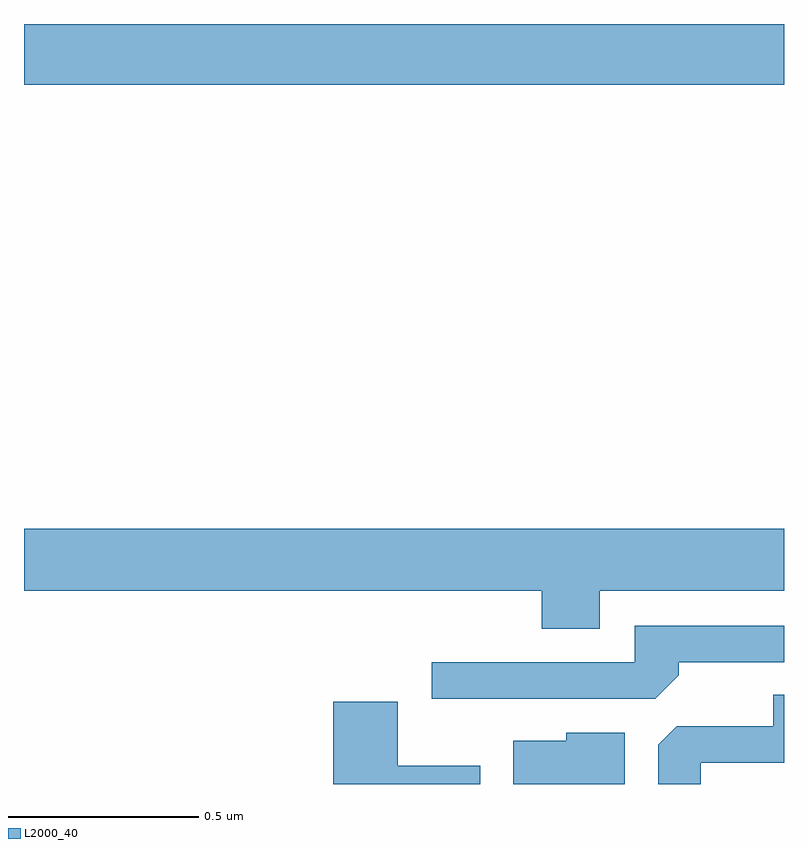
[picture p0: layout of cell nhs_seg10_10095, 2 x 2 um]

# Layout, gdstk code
import gdstk
lib = gdstk.Library(unit=1e-6, precision=1e-09)
def R(c, l, rs):  # rectangles x0, y0, x1, y1
    for r in rs: c.add(gdstk.rectangle(r[:2], r[2:], *l))
def P(c, l, *ps):  # polygons
    for p in ps: c.add(gdstk.Polygon(p, *l))
L2000_40 = (2000, 40)

nhs_seg10_10095 = lib.new_cell('nhs_seg10_10095')
R(nhs_seg10_10095, L2000_40, [(238,1276.34,240,1276.5)])
P(nhs_seg10_10095, L2000_40, [(239.515,1275.008),(240,1275.008),(240,1275.172),(238,1275.172),(238,1275.008),(239.363,1275.008),(239.363,1274.909),(239.515,1274.909)],
  [(239.723,1274.786),(239.723,1274.82),(240,1274.82),(240,1274.916),(239.607,1274.916),(239.607,1274.82),(239.073,1274.82),(239.073,1274.724),(239.661,1274.724)],
  [(239.781,1274.556),(240,1274.556),(240,1274.735),(239.972,1274.735),(239.972,1274.652),(239.718,1274.652),(239.669,1274.603),(239.669,1274.5),(239.781,1274.5)],
  [(239.2,1274.548),(238.984,1274.548),(238.984,1274.716),(238.814,1274.716),(238.814,1274.5),(239.2,1274.5)],
  [(239.581,1274.635),(239.427,1274.635),(239.427,1274.614),(239.288,1274.614),(239.288,1274.5),(239.581,1274.5)])

lib.write_gds('nhs_seg10_10095.gds')
